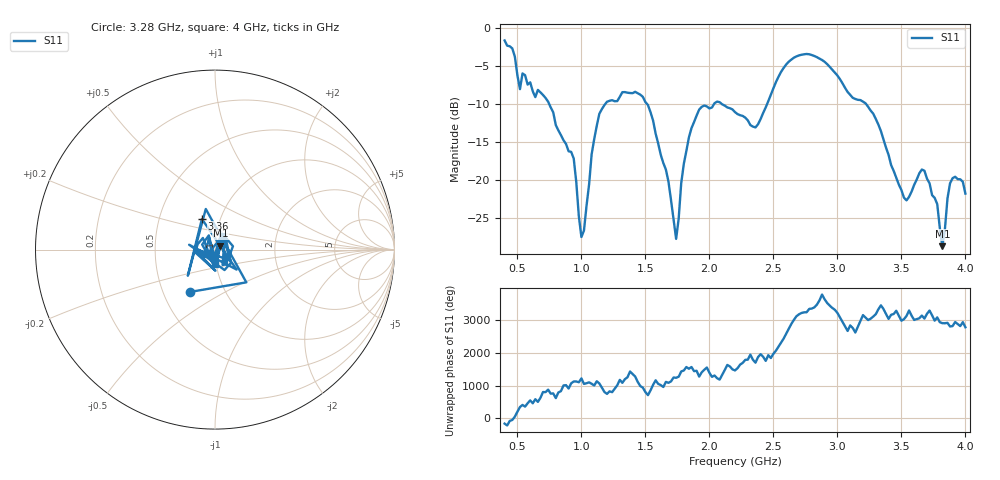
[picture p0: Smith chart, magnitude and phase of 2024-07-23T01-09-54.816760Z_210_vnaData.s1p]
!Created with skrf (http://scikit-rf.org).
# Hz S RI R 50.0
!freq ReS11 ImS11
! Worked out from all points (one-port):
!   181 points, 400 MHz to 4 GHz, reference 50 ohm
!   lowest |S11| = -28.6 dB at 3.82 GHz (marker M1), VSWR 1.08, Z = 53 + j2.3 ohm
!   |S11| at or under -10 dB: 748.2 MHz to 1.186 GHz (438.1 MHz wide, 45.3 % of centre); 1.513 GHz to 2.036 GHz (523.2 MHz wide, 29.5 % of centre); 3.224 GHz to end of sweep (the widest 3 of 4)
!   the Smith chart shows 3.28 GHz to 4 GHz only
!   S11 on the Smith chart (normalised r, x): 3.28 GHz: 0.68, -0.35; 3.36 GHz: 0.82, +0.29; 4 GHz: 0.99, -0.16
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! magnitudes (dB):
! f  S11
! 400 MHz  -1.7
! 460 MHz  -2.7
! 520 MHz  -8.0
! 540 MHz  -6.0
! 700 MHz  -8.8
! 860 MHz  -14.7
! 940 MHz  -17.1
! 1 GHz  -27.4
! 1.14 GHz  -11.3
! 1.3 GHz  -9.1
! 1.52 GHz  -10.1
! 1.68 GHz  -20.2
! 1.74 GHz  -27.7
! 1.76 GHz  -25.0
! 1.8 GHz  -17.9
! 1.92 GHz  -10.7
! 2.2 GHz  -11.1
! 2.36 GHz  -13.1
! 2.66 GHz  -3.9
! 3.1 GHz  -8.8
! 3.28 GHz  -11.3
! 3.36 GHz  -14.6
! 3.56 GHz  -22.2
! 3.68 GHz  -18.7
! 3.78 GHz  -23.1
! 3.82 GHz  -28.6
! 3.88 GHz  -20.4
! 4 GHz  -21.7
